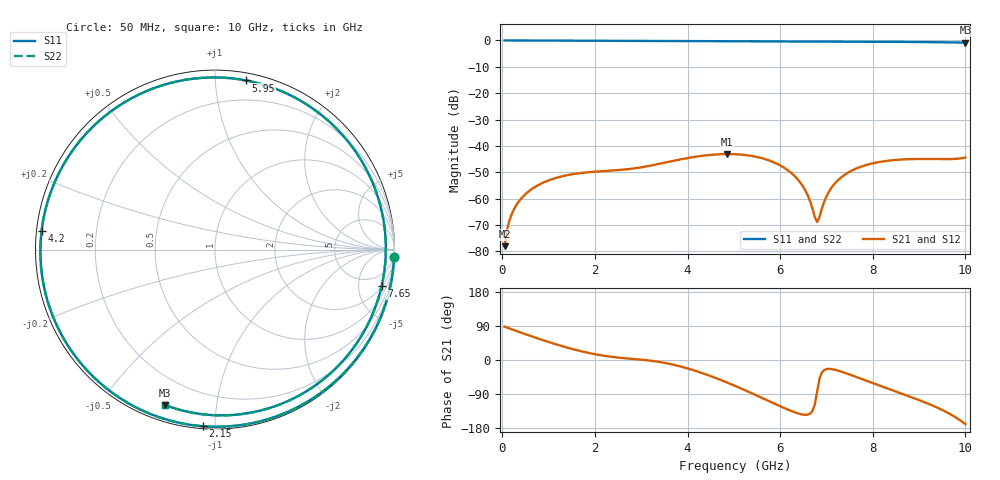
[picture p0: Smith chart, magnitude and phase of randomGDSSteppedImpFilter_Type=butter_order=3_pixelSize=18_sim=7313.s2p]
! freq	dB(S11)	phase(S11)	dB(S12)	phase(S12)
!  dB(S21)	phase(S21)	dB(S22)	phase(S22)
!S-par simulation data
#  GHz  S  DB  R 50
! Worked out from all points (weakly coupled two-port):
!   200 points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, 50 MHz to 10 GHz, reference 50 ohm
!   highest |S21| = -43.08 dB at 4.85 GHz (marker M1); lowest = -78.0 dB at 50 MHz (marker M2)
!   lowest |S11| = -0.8 dB at 10 GHz (marker M3), VSWR 21.12, Z = 3.61 - j36.2 ohm
!   |S11| at or under -10 dB: nowhere
!   |S22| runs from -0.8 to 0.0 dB; largest |S21 - S12| = 0
!   S11 on the Smith chart (normalised r, x): 50 MHz: 1, -51; 2.15 GHz: 0.01, -0.93; 4.2 GHz: 0.01, +0.05; 5.95 GHz: 0.05, +1.20; 7.65 GHz: 2.07, -8.73; 10 GHz: 0.07, -0.72
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0.05  -0.00 -2.3  -78.02 87.8  -78.02 87.8  -0.00 -2.3
0.1  -0.01 -4.5  -72.01 85.6  -72.01 85.6  -0.01 -4.5
0.2  -0.01 -8.9  -66.02 81.1  -66.02 81.1  -0.01 -8.9
0.5  -0.02 -22.2  -58.29 68.1  -58.29 68.1  -0.02 -22.2
1  -0.05 -44.1  -53.07 47.4  -53.07 47.4  -0.05 -44.1
1.75  -0.10 -76.6  -50.16 21.7  -50.16 21.7  -0.10 -76.6
2.15  -0.12 -93.8  -49.58 12.1  -49.58 12.1  -0.12 -93.8
2.75  -0.15 -119.8  -48.74 3.5  -48.74 3.5  -0.15 -119.8
3.4  -0.19 -148.7  -46.75 -5.3  -46.75 -5.3  -0.19 -148.7
4.2  -0.25 173.7  -44.02 -29.7  -44.02 -29.7  -0.25 173.7
4.85  -0.30 140.6  -43.08 -59.2  -43.08 -59.2  -0.30 140.7
5.05  -0.31 130.0  -43.16 -69.5  -43.16 -69.5  -0.31 130.0
5.5  -0.34 105.1  -44.19 -94.0  -44.19 -94.0  -0.34 105.2
5.95  -0.37 79.6  -46.93 -119.2  -46.93 -119.2  -0.37 79.6
6.4  -0.39 53.9  -53.11 -141.4  -53.11 -141.4  -0.39 54.0
6.7  -0.40 37.1  -63.90 -133.9  -63.90 -133.9  -0.40 37.2
6.8  -0.40 31.6  -68.89 -82.1  -68.89 -82.1  -0.40 31.7
7.1  -0.41 15.5  -56.05 -23.8  -56.05 -23.8  -0.41 15.5
7.65  -0.44 -12.4  -48.51 -45.0  -48.51 -45.0  -0.44 -12.3
8.35  -0.50 -44.2  -45.57 -76.6  -45.57 -76.6  -0.50 -44.1
9.15  -0.62 -76.5  -44.94 -113.1  -44.94 -113.1  -0.62 -76.4
10  -0.82 -108.0  -44.39 -169.3  -44.39 -169.3  -0.82 -107.8
